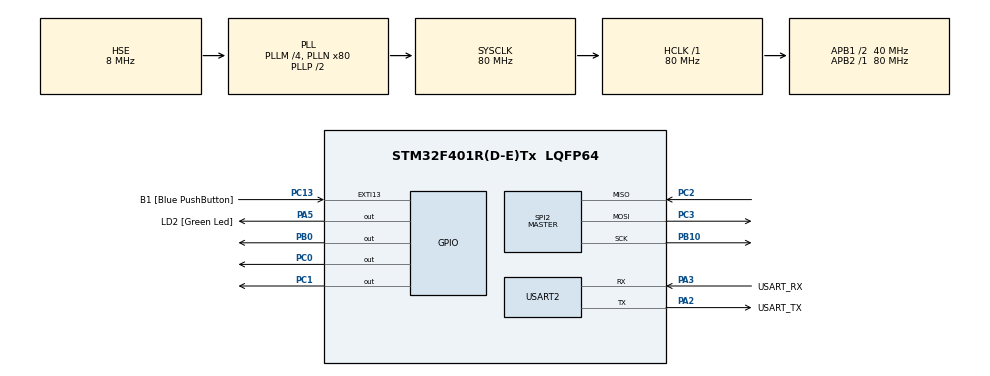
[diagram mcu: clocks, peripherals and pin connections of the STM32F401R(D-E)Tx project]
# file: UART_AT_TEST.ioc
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Mcu.Family=STM32F4
PC3.Mode=Full_Duplex_Master
PA2.GPIO_PuPd=GPIO_NOPULL
RCC.CortexFreq_Value=80000000
SPI2.VirtualType=VM_MASTER
PB10.Mode=Full_Duplex_Master
Dma.USART2_TX.1.MemInc=DMA_MINC_ENABLE
PA14.GPIO_Label=TCK
PA3.GPIO_PuPd=GPIO_NOPULL
PA2.GPIO_Speed=GPIO_SPEED_FREQ_LOW
PA3.GPIO_Speed=GPIO_SPEED_FREQ_LOW
RCC.SYSCLKSource=RCC_SYSCLKSOURCE_PLLCLK
ProjectManager.StackSize=0x400
PH0\ -\ OSC_IN.Signal=RCC_OSC_IN
Dma.USART2_RX.0.Priority=DMA_PRIORITY_LOW
Dma.USART2_RX.0.PeriphDataAlignment=DMA_PDATAALIGN_BYTE
RCC.HCLKFreq_Value=80000000
RCC.APB2TimFreq_Value=80000000
TIM3.Period=0xFFFF
Dma.USART2_TX.1.Mode=DMA_NORMAL
PC3.Signal=SPI2_MOSI
RCC.AHBFreq_Value=80000000
SPI2.BaudRatePrescaler=SPI_BAUDRATEPRESCALER_2
RCC.HSE_VALUE=8000000
PC13-ANTI_TAMP.Signal=GPXTI13
Dma.USART2_RX.0.MemDataAlignment=DMA_MDATAALIGN_BYTE
PC14-OSC32_IN.Mode=LSE-External-Oscillator
PA14.Mode=Serial_Wire
Dma.USART2_TX.1.Instance=DMA1_Stream6
TIM3.Prescaler=80
PA5.GPIO_PuPd=GPIO_NOPULL
NVIC.TIM2_IRQn=true\:0\:0\:false\:false\:true\:true\:true
Dma.USART2_RX.0.Instance=DMA1_Stream5
TIM4.Period=0xFFFF
Mcu.Package=LQFP64
TIM2.Prescaler=80
SPI2.Mode=SPI_MODE_MASTER
Dma.USART2_RX.0.PeriphInc=DMA_PINC_DISABLE
USART2.VirtualMode=VM_ASYNC
Dma.USART2_RX.0.FIFOMode=DMA_FIFOMODE_DISABLE
PA2.GPIO_Label=USART_TX
Dma.Request1=USART2_TX
RCC.APB1TimFreq_Value=80000000
SPI2.Direction=SPI_DIRECTION_2LINES
NVIC.DMA1_Stream6_IRQn=true\:0\:0\:false\:false\:true\:false\:true
Dma.Request0=USART2_RX
VP_TIM3_VS_ClockSourceINT.Mode=Internal
PA3.Signal=USART2_RX
PA2.GPIO_Mode=GPIO_MODE_AF_PP
PB3.GPIO_Label=SWO
RCC.PLLSourceVirtual=RCC_PLLSOURCE_HSE
PC15-OSC32_OUT.Mode=LSE-External-Oscillator
Dma.USART2_TX.1.Priority=DMA_PRIORITY_LOW
Dma.USART2_TX.1.FIFOMode=DMA_FIFOMODE_DISABLE
PC13-ANTI_TAMP.GPIO_PuPd=GPIO_NOPULL
PC13-ANTI_TAMP.GPIO_Label=B1 [Blue PushButton]
PH1\ -\ OSC_OUT.Mode=HSE-External-Clock-Source
PC2.Signal=SPI2_MISO
Dma.USART2_RX.0.Direction=DMA_PERIPH_TO_MEMORY
PC2.Mode=Full_Duplex_Master
PC0.Signal=GPIO_Output
RCC.APB1CLKDivider=RCC_HCLK_DIV2
PC14-OSC32_IN.Signal=RCC_OSC32_IN
Dma.USART2_TX.1.PeriphDataAlignment=DMA_PDATAALIGN_BYTE
Dma.USART2_RX.0.Mode=DMA_NORMAL
PA13.Signal=SYS_JTMS-SWDIO
PA3.Mode=Asynchronous
PH0\ -\ OSC_IN.Mode=HSE-External-Clock-Source
ProjectManager.TargetToolchain=TrueSTUDIO
NVIC.DMA1_Stream5_IRQn=true\:0\:0\:false\:false\:true\:false\:true
PA3.GPIO_Mode=GPIO_MODE_AF_PP
TIM4.Prescaler=80
PC15-OSC32_OUT.Signal=RCC_OSC32_OUT
PB10.Signal=SPI2_SCK
PA5.Signal=GPIO_Output
PH1\ -\ OSC_OUT.Signal=RCC_OSC_OUT
Dma.USART2_TX.1.PeriphInc=DMA_PINC_DISABLE
board=NUCLEO-F401RE
RCC.VCOOutputFreq_Value=160000000
NVIC.TIM3_IRQn=true\:0\:0\:false\:false\:true\:true\:true
Dma.USART2_TX.1.Direction=DMA_MEMORY_TO_PERIPH
RCC.APB2Freq_Value=80000000
VP_TIM2_VS_ClockSourceINT.Mode=Internal
TIM2.Period=0xFFFF
PA13.Mode=Serial_Wire
Mcu.Name=STM32F401R(D-E)Tx
Dma.USART2_RX.0.MemInc=DMA_MINC_ENABLE
PA2.Signal=USART2_TX
PA13.GPIO_Label=TMS
RCC.48MHZClocksFreq_Value=22857142.85714286
PB3.Signal=SYS_JTDO-SWO
RCC.SYSCLKFreq_VALUE=80000000
PA5.GPIO_Label=LD2 [Green Led]
PC13-ANTI_TAMP.GPIO_ModeDefaultEXTI=GPIO_MODE_IT_FALLING
PA14.Signal=SYS_JTCK-SWCLK
ProjectManager.HeapSize=0x200
RCC.HSI_VALUE=16000000
VP_TIM4_VS_ClockSourceINT.Mode=Internal
PA5.GPIO_Speed=GPIO_SPEED_FREQ_LOW
RCC.PLLQ=7
NVIC.PriorityGroup=NVIC_PRIORITYGROUP_0
RCC.PLLM=4
RCC.PLLN=80
PA2.Mode=Asynchronous
Dma.USART2_TX.1.MemDataAlignment=DMA_MDATAALIGN_BYTE
NVIC.TIM4_IRQn=true\:0\:0\:false\:false\:true\:true\:true
RCC.APB1Freq_Value=40000000
PA5.GPIO_Mode=GPIO_MODE_OUTPUT_PP
PB0.Signal=GPIO_Output
PC1.Signal=GPIO_Output
PA3.GPIO_Label=USART_RX

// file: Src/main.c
/* USER CODE BEGIN Header */
/**
  ******************************************************************************
  * @file           : main.c
  * @brief          : Main program body
  ******************************************************************************
  * @attention
  *
  * <h2><center>&copy; Copyright (c) 2020 STMicroelectronics.
  * All rights reserved.</center></h2>
  *
  * This software component is licensed by ST under BSD 3-Clause license,
  * the "License"; You may not use this file except in compliance with the
  * License. You may obtain a copy of the License at:
  *                        opensource.org/licenses/BSD-3-Clause
  *
  ******************************************************************************
  */
/* USER CODE END Header */

#include "main.h"

/* USER CODE BEGIN Includes */
#include <string.h>
#include "st7735.h"
#include "fonts.h"
#include "testimg.h"
/* USER CODE END Includes */

SPI_HandleTypeDef hspi2;

TIM_HandleTypeDef htim2;
TIM_HandleTypeDef htim3;
TIM_HandleTypeDef htim4;

UART_HandleTypeDef huart2;

void SystemClock_Config(void);
static void MX_GPIO_Init(void);
static void MX_SPI2_Init(void);
static void MX_TIM2_Init(void);
static void MX_TIM3_Init(void);
static void MX_USART2_UART_Init(void);
static void MX_TIM4_Init(void);
/* USER CODE BEGIN PFP */
uint8_t byte1,byte2[7];
int flag1r=0,counter=0;
/* USER CODE END PFP */

/* USER CODE BEGIN 0 */
void init() {
    ST7735_Init();

    const char ready[] = "Ready!\r\n";
    HAL_UART_Transmit(&huart2, (uint8_t*)ready, sizeof(ready)-1, HAL_MAX_DELAY);
}
void loop() {
    // Check border
    ST7735_FillScreen(ST7735_BLACK);

    for(int x = 0; x < ST7735_WIDTH; x++) {
        ST7735_DrawPixel(x, 0, ST7735_RED);
        ST7735_DrawPixel(x, ST7735_HEIGHT-1, ST7735_RED);
    }

    for(int y = 0; y < ST7735_HEIGHT; y++) {
        ST7735_DrawPixel(0, y, ST7735_RED);
        ST7735_DrawPixel(ST7735_WIDTH-1, y, ST7735_RED);
    }

    HAL_Delay(3000);

    // Check fonts
    ST7735_FillScreen(ST7735_BLACK);
    ST7735_WriteString(0, 0, "Font_7x10, red on black, lorem ipsum dolor sit amet", Font_7x10, ST7735_RED, ST7735_BLACK);
    ST7735_WriteString(0, 3*10, "Font_11x18, green, lorem ipsum", Font_11x18, ST7735_GREEN, ST7735_BLACK);
    ST7735_WriteString(0, 3*10+3*18, "Font_16x26", Font_16x26, ST7735_BLUE, ST7735_BLACK);
    HAL_Delay(2000);

    // Check colors
    ST7735_FillScreen(ST7735_BLACK);
    ST7735_WriteString(0, 0, "BLACK", Font_11x18, ST7735_WHITE, ST7735_BLACK);
    HAL_Delay(500);

    ST7735_FillScreen(ST7735_BLUE);
    ST7735_WriteString(0, 0, "BLUE", Font_11x18, ST7735_BLACK, ST7735_BLUE);
    HAL_Delay(500);

    ST7735_FillScreen(ST7735_RED);
    ST7735_WriteString(0, 0, "RED", Font_11x18, ST7735_BLACK, ST7735_RED);
    HAL_Delay(500);

    ST7735_FillScreen(ST7735_GREEN);
    ST7735_WriteString(0, 0, "GREEN", Font_11x18, ST7735_BLACK, ST7735_GREEN);
    HAL_Delay(500);

    ST7735_FillScreen(ST7735_CYAN);
    ST7735_WriteString(0, 0, "CYAN", Font_11x18, ST7735_BLACK, ST7735_CYAN);
    HAL_Delay(500);

    ST7735_FillScreen(ST7735_MAGENTA);
    ST7735_WriteString(0, 0, "MAGENTA", Font_11x18, ST7735_BLACK, ST7735_MAGENTA);
    HAL_Delay(500);

    ST7735_FillScreen(ST7735_YELLOW);
    ST7735_WriteString(0, 0, "YELLOW", Font_11x18, ST7735_BLACK, ST7735_YELLOW);
    HAL_Delay(500);

    ST7735_FillScreen(ST7735_WHITE);
    ST7735_WriteString(0, 0, "WHITE", Font_11x18, ST7735_BLACK, ST7735_WHITE);
    HAL_Delay(500);

#ifdef ST7735_IS_128X128
    // Display test image 128x128
    ST7735_DrawImage(0, 0, ST7735_WIDTH, ST7735_HEIGHT, (uint16_t*)test_img_128x128);
    ST7735_WriteString(0, 0, "hello Mohamed", Font_7x10, ST7735_BLACK, ST7735_YELLOW);
    HAL_Delay(500);
/*
    // Display test image 128x128 pixel by pixel
    for(int x = 0; x < ST7735_WIDTH; x++) {
        for(int y = 0; y < ST7735_HEIGHT; y++) {
            uint16_t color565 = test_img_128x128[y][x];
            // fix endiness
            color565 = ((color565 & 0xFF00) >> 8) | ((color565 & 0xFF) << 8);
            ST7735_DrawPixel(x, y, color565);
        }
    }
*/
    HAL_Delay(15000);
#endif // ST7735_IS_128X128

}
/* USER CODE END 0 */

int main(void)
{
  /* USER CODE BEGIN 1 */
	uint8_t i[100];

  /* USER CODE END 1 */

  /* MCU Configuration--------------------------------------------------------*/

  /* Reset of all peripherals, Initializes the Flash interface and the Systick. */
  HAL_Init();

  /* Configure the system clock */
  SystemClock_Config();

  /* Initialize all configured peripherals */
  MX_GPIO_Init();
  MX_SPI2_Init();
  MX_TIM2_Init();
  MX_TIM3_Init();
  MX_USART2_UART_Init();
  MX_TIM4_Init();
  /* USER CODE BEGIN 2 */
  init();

  sprintf(i,"Hello Mohamed How are you ?\n\n\r");
  HAL_UART_Transmit(&huart2,i,strlen(i),100);
  HAL_UART_Receive_IT(&huart2, &byte1, 1);

  /* USER CODE END 2 */

  /* Infinite loop */
  /*  USER CODE BEGIN WHILE */
  while (1)
  {
	  //loop();
	  /*
if( byte2[0] != 0 ){
	if(byte2[0]=='&')HAL_GPIO_TogglePin(LD2_GPIO_Port,LD2_Pin);
	HAL_UART_Transmit(&huart2, byte2, 1, 100);
	byte2[0]= 0;

} */
if( flag1r > 0 ){
	//if(byte2[0]=='&')
	HAL_GPIO_TogglePin(LD2_GPIO_Port,LD2_Pin);
	HAL_UART_Transmit(&huart2, byte2, strlen(byte2), 100);
    HAL_UART_Receive_IT(&huart2, &byte1, 1);
	//byte2[0]= 0;
	flag1r=0;
}

    /* USER CODE END WHILE */

  }
}

void SystemClock_Config(void)
{
  RCC_OscInitTypeDef RCC_OscInitStruct = {0};
  RCC_ClkInitTypeDef RCC_ClkInitStruct = {0};

  /** Configure the main internal regulator output voltage
  */
  __HAL_RCC_PWR_CLK_ENABLE();
  __HAL_PWR_VOLTAGESCALING_CONFIG(PWR_REGULATOR_VOLTAGE_SCALE2);
  /** Initializes the CPU, AHB and APB busses clocks
  */
  RCC_OscInitStruct.OscillatorType = RCC_OSCILLATORTYPE_HSE;
  RCC_OscInitStruct.HSEState = RCC_HSE_BYPASS;
  RCC_OscInitStruct.PLL.PLLState = RCC_PLL_ON;
  RCC_OscInitStruct.PLL.PLLSource = RCC_PLLSOURCE_HSE;
  RCC_OscInitStruct.PLL.PLLM = 4;
  RCC_OscInitStruct.PLL.PLLN = 80;
  RCC_OscInitStruct.PLL.PLLP = RCC_PLLP_DIV2;
  RCC_OscInitStruct.PLL.PLLQ = 7;
  if (HAL_RCC_OscConfig(&RCC_OscInitStruct) != HAL_OK)
  {
    Error_Handler();
  }
  /** Initializes the CPU, AHB and APB busses clocks
  */
  RCC_ClkInitStruct.ClockType = RCC_CLOCKTYPE_HCLK|RCC_CLOCKTYPE_SYSCLK
                              |RCC_CLOCKTYPE_PCLK1|RCC_CLOCKTYPE_PCLK2;
  RCC_ClkInitStruct.SYSCLKSource = RCC_SYSCLKSOURCE_PLLCLK;
  RCC_ClkInitStruct.AHBCLKDivider = RCC_SYSCLK_DIV1;
  RCC_ClkInitStruct.APB1CLKDivider = RCC_HCLK_DIV2;
  RCC_ClkInitStruct.APB2CLKDivider = RCC_HCLK_DIV1;

  if (HAL_RCC_ClockConfig(&RCC_ClkInitStruct, FLASH_LATENCY_2) != HAL_OK)
  {
    Error_Handler();
  }
}

static void MX_SPI2_Init(void)
{

  /* SPI2 parameter configuration*/
  hspi2.Instance = SPI2;
  hspi2.Init.Mode = SPI_MODE_MASTER;
  hspi2.Init.Direction = SPI_DIRECTION_2LINES;
  hspi2.Init.DataSize = SPI_DATASIZE_8BIT;
  hspi2.Init.CLKPolarity = SPI_POLARITY_LOW;
  hspi2.Init.CLKPhase = SPI_PHASE_1EDGE;
  hspi2.Init.NSS = SPI_NSS_SOFT;
  hspi2.Init.BaudRatePrescaler = SPI_BAUDRATEPRESCALER_2;
  hspi2.Init.FirstBit = SPI_FIRSTBIT_MSB;
  hspi2.Init.TIMode = SPI_TIMODE_DISABLE;
  hspi2.Init.CRCCalculation = SPI_CRCCALCULATION_DISABLE;
  hspi2.Init.CRCPolynomial = 10;
  if (HAL_SPI_Init(&hspi2) != HAL_OK)
  {
    Error_Handler();
  }

}

static void MX_TIM2_Init(void)
{

  TIM_ClockConfigTypeDef sClockSourceConfig = {0};
  TIM_MasterConfigTypeDef sMasterConfig = {0};

  htim2.Instance = TIM2;
  htim2.Init.Prescaler = 80;
  htim2.Init.CounterMode = TIM_COUNTERMODE_UP;
  htim2.Init.Period = 0xFFFF;
  htim2.Init.ClockDivision = TIM_CLOCKDIVISION_DIV1;
  htim2.Init.AutoReloadPreload = TIM_AUTORELOAD_PRELOAD_DISABLE;
  if (HAL_TIM_Base_Init(&htim2) != HAL_OK)
  {
    Error_Handler();
  }
  sClockSourceConfig.ClockSource = TIM_CLOCKSOURCE_INTERNAL;
  if (HAL_TIM_ConfigClockSource(&htim2, &sClockSourceConfig) != HAL_OK)
  {
    Error_Handler();
  }
  sMasterConfig.MasterOutputTrigger = TIM_TRGO_RESET;
  sMasterConfig.MasterSlaveMode = TIM_MASTERSLAVEMODE_DISABLE;
  if (HAL_TIMEx_MasterConfigSynchronization(&htim2, &sMasterConfig) != HAL_OK)
  {
    Error_Handler();
  }

}

static void MX_TIM3_Init(void)
{

  TIM_ClockConfigTypeDef sClockSourceConfig = {0};
  TIM_MasterConfigTypeDef sMasterConfig = {0};

  htim3.Instance = TIM3;
  htim3.Init.Prescaler = 80;
  htim3.Init.CounterMode = TIM_COUNTERMODE_UP;
  htim3.Init.Period = 0xFFFF;
  htim3.Init.ClockDivision = TIM_CLOCKDIVISION_DIV1;
  htim3.Init.AutoReloadPreload = TIM_AUTORELOAD_PRELOAD_DISABLE;
  if (HAL_TIM_Base_Init(&htim3) != HAL_OK)
  {
    Error_Handler();
  }
  sClockSourceConfig.ClockSource = TIM_CLOCKSOURCE_INTERNAL;
  if (HAL_TIM_ConfigClockSource(&htim3, &sClockSourceConfig) != HAL_OK)
  {
    Error_Handler();
  }
  sMasterConfig.MasterOutputTrigger = TIM_TRGO_RESET;
  sMasterConfig.MasterSlaveMode = TIM_MASTERSLAVEMODE_DISABLE;
  if (HAL_TIMEx_MasterConfigSynchronization(&htim3, &sMasterConfig) != HAL_OK)
  {
    Error_Handler();
  }

}

static void MX_TIM4_Init(void)
{

  TIM_ClockConfigTypeDef sClockSourceConfig = {0};
  TIM_MasterConfigTypeDef sMasterConfig = {0};

  htim4.Instance = TIM4;
  htim4.Init.Prescaler = 80;
  htim4.Init.CounterMode = TIM_COUNTERMODE_UP;
  htim4.Init.Period = 0xFFFF;
  htim4.Init.ClockDivision = TIM_CLOCKDIVISION_DIV1;
  htim4.Init.AutoReloadPreload = TIM_AUTORELOAD_PRELOAD_DISABLE;
  if (HAL_TIM_Base_Init(&htim4) != HAL_OK)
  {
    Error_Handler();
  }
  sClockSourceConfig.ClockSource = TIM_CLOCKSOURCE_INTERNAL;
  if (HAL_TIM_ConfigClockSource(&htim4, &sClockSourceConfig) != HAL_OK)
  {
    Error_Handler();
  }
  sMasterConfig.MasterOutputTrigger = TIM_TRGO_RESET;
  sMasterConfig.MasterSlaveMode = TIM_MASTERSLAVEMODE_DISABLE;
  if (HAL_TIMEx_MasterConfigSynchronization(&htim4, &sMasterConfig) != HAL_OK)
  {
    Error_Handler();
  }

}

static void MX_USART2_UART_Init(void)
{

  huart2.Instance = USART2;
  huart2.Init.BaudRate = 115200;
  huart2.Init.WordLength = UART_WORDLENGTH_8B;
  huart2.Init.StopBits = UART_STOPBITS_1;
  huart2.Init.Parity = UART_PARITY_NONE;
  huart2.Init.Mode = UART_MODE_TX_RX;
  huart2.Init.HwFlowCtl = UART_HWCONTROL_NONE;
  huart2.Init.OverSampling = UART_OVERSAMPLING_16;
  if (HAL_UART_Init(&huart2) != HAL_OK)
  {
    Error_Handler();
  }

}

static void MX_GPIO_Init(void)
{
  GPIO_InitTypeDef GPIO_InitStruct = {0};

  /* GPIO Ports Clock Enable */
  __HAL_RCC_GPIOC_CLK_ENABLE();
  __HAL_RCC_GPIOH_CLK_ENABLE();
  __HAL_RCC_GPIOA_CLK_ENABLE();
  __HAL_RCC_GPIOB_CLK_ENABLE();

  /*Configure GPIO pin Output Level */
  HAL_GPIO_WritePin(GPIOC, GPIO_PIN_0|GPIO_PIN_1, GPIO_PIN_RESET);

  /*Configure GPIO pin Output Level */
  HAL_GPIO_WritePin(LD2_GPIO_Port, LD2_Pin, GPIO_PIN_RESET);

  /*Configure GPIO pin Output Level */
  HAL_GPIO_WritePin(GPIOB, GPIO_PIN_0, GPIO_PIN_RESET);

  /*Configure GPIO pin : B1_Pin */
  GPIO_InitStruct.Pin = B1_Pin;
  GPIO_InitStruct.Mode = GPIO_MODE_IT_FALLING;
  GPIO_InitStruct.Pull = GPIO_NOPULL;
  HAL_GPIO_Init(B1_GPIO_Port, &GPIO_InitStruct);

  /*Configure GPIO pins : PC0 PC1 */
  GPIO_InitStruct.Pin = GPIO_PIN_0|GPIO_PIN_1;
  GPIO_InitStruct.Mode = GPIO_MODE_OUTPUT_PP;
  GPIO_InitStruct.Pull = GPIO_NOPULL;
  GPIO_InitStruct.Speed = GPIO_SPEED_FREQ_LOW;
  HAL_GPIO_Init(GPIOC, &GPIO_InitStruct);

  /*Configure GPIO pin : LD2_Pin */
  GPIO_InitStruct.Pin = LD2_Pin;
  GPIO_InitStruct.Mode = GPIO_MODE_OUTPUT_PP;
  GPIO_InitStruct.Pull = GPIO_NOPULL;
  GPIO_InitStruct.Speed = GPIO_SPEED_FREQ_LOW;
  HAL_GPIO_Init(LD2_GPIO_Port, &GPIO_InitStruct);

  /*Configure GPIO pin : PB0 */
  GPIO_InitStruct.Pin = GPIO_PIN_0;
  GPIO_InitStruct.Mode = GPIO_MODE_OUTPUT_PP;
  GPIO_InitStruct.Pull = GPIO_NOPULL;
  GPIO_InitStruct.Speed = GPIO_SPEED_FREQ_LOW;
  HAL_GPIO_Init(GPIOB, &GPIO_InitStruct);

}

/* USER CODE BEGIN 4 */
void HAL_UART_RxCpltCallback(UART_HandleTypeDef *huart)
{
	 if (huart->Instance == USART2)
	  {

		 byte2[counter]=byte1;
		HAL_UART_Transmit(&huart2, byte2, strlen(byte2), 100);
	    /* Transmit one byte with 100 ms timeout */
	    /* Receive one byte in interrupt mode */
	    HAL_UART_Receive_IT(&huart2, &byte1, 1);
        if(counter>6){
       		 		 counter=-1;
       		 			flag1r=10;
       		 	    memset(byte2, '-1', sizeof(byte2));

       		 		}
        counter ++;

	  }
}
/* USER CODE END 4 */

void Error_Handler(void)
{
}

/************************ (C) COPYRIGHT STMicroelectronics *****END OF FILE****/
